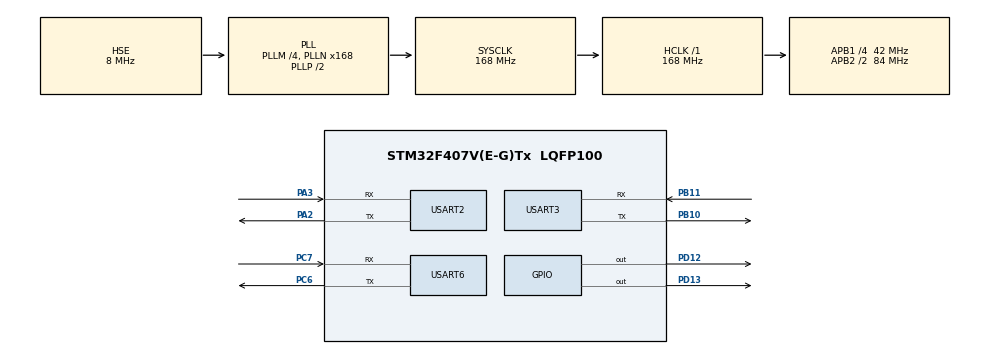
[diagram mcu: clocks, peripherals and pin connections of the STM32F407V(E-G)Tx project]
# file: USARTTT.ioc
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Mcu.Family=STM32F4
Mcu.Name=STM32F407V(E-G)Tx
Mcu.Package=LQFP100
NVIC.PriorityGroup=NVIC_PRIORITYGROUP_4
NVIC.USART2_IRQn=true\:0\:0\:false\:false\:true\:true
NVIC.USART3_IRQn=true\:0\:0\:false\:false\:true\:true
PA13.Mode=Trace_Asynchronous_SW
PA13.Signal=SYS_JTMS-SWDIO
PA14.Mode=Trace_Asynchronous_SW
PA14.Signal=SYS_JTCK-SWCLK
PA2.Mode=Asynchronous
PA2.Signal=USART2_TX
PA3.Mode=Asynchronous
PA3.Signal=USART2_RX
PB10.Mode=Asynchronous
PB10.Signal=USART3_TX
PB11.Mode=Asynchronous
PB11.Signal=USART3_RX
PB3.Mode=Trace_Asynchronous_SW
PB3.Signal=SYS_JTDO-SWO
PC6.Mode=Asynchronous
PC6.Signal=USART6_TX
PC7.Mode=Asynchronous
PC7.Signal=USART6_RX
PD12.Signal=GPIO_Output
PD13.Signal=GPIO_Output
PH0-OSC_IN.Mode=HSE-External-Oscillator
PH0-OSC_IN.Signal=RCC_OSC_IN
PH1-OSC_OUT.Mode=HSE-External-Oscillator
PH1-OSC_OUT.Signal=RCC_OSC_OUT
ProjectManager.HeapSize=0x200
ProjectManager.StackSize=0x400
ProjectManager.TargetToolchain=MDK-ARM V5
RCC.48MHZClocksFreq_Value=84000000
RCC.AHBFreq_Value=168000000
RCC.APB1CLKDivider=RCC_HCLK_DIV4
RCC.APB1Freq_Value=42000000
RCC.APB1TimFreq_Value=84000000
RCC.APB2CLKDivider=RCC_HCLK_DIV2
RCC.APB2Freq_Value=84000000
RCC.APB2TimFreq_Value=168000000
RCC.CortexFreq_Value=168000000
RCC.HCLKFreq_Value=168000000
RCC.HSE_VALUE=8000000
RCC.HSI_VALUE=16000000
RCC.LSE_VALUE=32768
RCC.PLLM=4
RCC.PLLN=168
RCC.PLLSourceVirtual=RCC_PLLSOURCE_HSE
RCC.SYSCLKFreq_VALUE=168000000
RCC.SYSCLKSource=RCC_SYSCLKSOURCE_PLLCLK
RCC.VCOOutputFreq_Value=336000000
USART2.VirtualMode=VM_ASYNC
USART3.VirtualMode=VM_ASYNC
USART6.VirtualMode=VM_ASYNC
board=custom

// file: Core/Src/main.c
/**
  ******************************************************************************
  * @file           : main.c
  * @brief          : Main program body
  ******************************************************************************
  ** This notice applies to any and all portions of this file
  * that are not between comment pairs USER CODE BEGIN and
  * USER CODE END. Other portions of this file, whether
  * inserted by the user or by software development tools
  * are owned by their respective copyright owners.
  *
  * COPYRIGHT(c) 2018 STMicroelectronics
  *
  * Redistribution and use in source and binary forms, with or without modification,
  * are permitted provided that the following conditions are met:
  *   1. Redistributions of source code must retain the above copyright notice,
  *      this list of conditions and the following disclaimer.
  *   2. Redistributions in binary form must reproduce the above copyright notice,
  *      this list of conditions and the following disclaimer in the documentation
  *      and/or other materials provided with the distribution.
  *   3. Neither the name of STMicroelectronics nor the names of its contributors
  *      may be used to endorse or promote products derived from this software
  *      without specific prior written permission.
  *
  * THIS SOFTWARE IS PROVIDED BY THE COPYRIGHT HOLDERS AND CONTRIBUTORS "AS IS"
  * AND ANY EXPRESS OR IMPLIED WARRANTIES, INCLUDING, BUT NOT LIMITED TO, THE
  * IMPLIED WARRANTIES OF MERCHANTABILITY AND FITNESS FOR A PARTICULAR PURPOSE ARE
  * DISCLAIMED. IN NO EVENT SHALL THE COPYRIGHT HOLDER OR CONTRIBUTORS BE LIABLE
  * FOR ANY DIRECT, INDIRECT, INCIDENTAL, SPECIAL, EXEMPLARY, OR CONSEQUENTIAL
  * DAMAGES (INCLUDING, BUT NOT LIMITED TO, PROCUREMENT OF SUBSTITUTE GOODS OR
  * SERVICES; LOSS OF USE, DATA, OR PROFITS; OR BUSINESS INTERRUPTION) HOWEVER
  * CAUSED AND ON ANY THEORY OF LIABILITY, WHETHER IN CONTRACT, STRICT LIABILITY,
  * OR TORT (INCLUDING NEGLIGENCE OR OTHERWISE) ARISING IN ANY WAY OUT OF THE USE
  * OF THIS SOFTWARE, EVEN IF ADVISED OF THE POSSIBILITY OF SUCH DAMAGE.
  *
  ******************************************************************************
  */
#include "main.h"
#include "stm32f4xx_hal.h"

UART_HandleTypeDef huart2;
UART_HandleTypeDef huart3;
UART_HandleTypeDef huart6;

/* USER CODE BEGIN PV */
/* Private variables ---------------------------------------------------------*/

/* USER CODE END PV */

void SystemClock_Config(void);
static void MX_GPIO_Init(void);
static void MX_USART2_UART_Init(void);
static void MX_USART6_UART_Init(void);
static void MX_USART3_UART_Init(void);

/* USER CODE BEGIN PFP */
/* Private function prototypes -----------------------------------------------*/

/* USER CODE END PFP */

/* USER CODE BEGIN 0 */
struct __FILE{

int handle;
};

FILE __stdout;
FILE __stdin;

int fputc(int ch, FILE *f)
{
	ITM_SendChar(ch);
	return(ch);
}

/* USER CODE END 0 */

int main(void)
{

  /* MCU Configuration----------------------------------------------------------*/

  /* Reset of all peripherals, Initializes the Flash interface and the Systick. */
  HAL_Init();

  /* Configure the system clock */
  SystemClock_Config();

  /* Initialize all configured peripherals */
  MX_GPIO_Init();
  MX_USART2_UART_Init();
  MX_USART6_UART_Init();
  MX_USART3_UART_Init();
  /* USER CODE BEGIN 2 */
  char buffer[]="Hello";
  uint8_t rec = 0;
  HAL_UART_Transmit(&huart3, (uint8_t *)buffer,sizeof(buffer),10);
//printf("Before while");
  /* USER CODE END 2 */

  /* Infinite loop */
  /* USER CODE BEGIN WHILE */
  while (1)
  {
	  printf("Entered while loop");
	    if(HAL_UART_Receive(&huart3, &rec ,1,10)==HAL_OK){
			printf("Entered if");
			HAL_GPIO_TogglePin(GPIOD, GPIO_PIN_12);
		printf("If code executed");}
		else
		{
			printf("Entered else");
			HAL_GPIO_TogglePin(GPIOD, GPIO_PIN_13);
		}
		printf("%d\n",rec);

		HAL_Delay(1000);
  /* USER CODE END WHILE */

  }

}

void SystemClock_Config(void)
{

  RCC_OscInitTypeDef RCC_OscInitStruct;
  RCC_ClkInitTypeDef RCC_ClkInitStruct;

    /**Configure the main internal regulator output voltage
    */
  __HAL_RCC_PWR_CLK_ENABLE();

  __HAL_PWR_VOLTAGESCALING_CONFIG(PWR_REGULATOR_VOLTAGE_SCALE1);

    /**Initializes the CPU, AHB and APB busses clocks
    */
  RCC_OscInitStruct.OscillatorType = RCC_OSCILLATORTYPE_HSE;
  RCC_OscInitStruct.HSEState = RCC_HSE_ON;
  RCC_OscInitStruct.PLL.PLLState = RCC_PLL_ON;
  RCC_OscInitStruct.PLL.PLLSource = RCC_PLLSOURCE_HSE;
  RCC_OscInitStruct.PLL.PLLM = 4;
  RCC_OscInitStruct.PLL.PLLN = 168;
  RCC_OscInitStruct.PLL.PLLP = RCC_PLLP_DIV2;
  RCC_OscInitStruct.PLL.PLLQ = 4;
  if (HAL_RCC_OscConfig(&RCC_OscInitStruct) != HAL_OK)
  {
    _Error_Handler(__FILE__, __LINE__);
  }

    /**Initializes the CPU, AHB and APB busses clocks
    */
  RCC_ClkInitStruct.ClockType = RCC_CLOCKTYPE_HCLK|RCC_CLOCKTYPE_SYSCLK
                              |RCC_CLOCKTYPE_PCLK1|RCC_CLOCKTYPE_PCLK2;
  RCC_ClkInitStruct.SYSCLKSource = RCC_SYSCLKSOURCE_PLLCLK;
  RCC_ClkInitStruct.AHBCLKDivider = RCC_SYSCLK_DIV1;
  RCC_ClkInitStruct.APB1CLKDivider = RCC_HCLK_DIV4;
  RCC_ClkInitStruct.APB2CLKDivider = RCC_HCLK_DIV2;

  if (HAL_RCC_ClockConfig(&RCC_ClkInitStruct, FLASH_LATENCY_5) != HAL_OK)
  {
    _Error_Handler(__FILE__, __LINE__);
  }

    /**Configure the Systick interrupt time
    */
  HAL_SYSTICK_Config(HAL_RCC_GetHCLKFreq()/1000);

    /**Configure the Systick
    */
  HAL_SYSTICK_CLKSourceConfig(SYSTICK_CLKSOURCE_HCLK);

  /* SysTick_IRQn interrupt configuration */
  HAL_NVIC_SetPriority(SysTick_IRQn, 0, 0);
}

/* USART2 init function */
static void MX_USART2_UART_Init(void)
{

  huart2.Instance = USART2;
  huart2.Init.BaudRate = 115200;
  huart2.Init.WordLength = UART_WORDLENGTH_8B;
  huart2.Init.StopBits = UART_STOPBITS_1;
  huart2.Init.Parity = UART_PARITY_NONE;
  huart2.Init.Mode = UART_MODE_TX_RX;
  huart2.Init.HwFlowCtl = UART_HWCONTROL_NONE;
  huart2.Init.OverSampling = UART_OVERSAMPLING_16;
  if (HAL_UART_Init(&huart2) != HAL_OK)
  {
    _Error_Handler(__FILE__, __LINE__);
  }

}

/* USART3 init function */
static void MX_USART3_UART_Init(void)
{

  huart3.Instance = USART3;
  huart3.Init.BaudRate = 115200;
  huart3.Init.WordLength = UART_WORDLENGTH_8B;
  huart3.Init.StopBits = UART_STOPBITS_1;
  huart3.Init.Parity = UART_PARITY_NONE;
  huart3.Init.Mode = UART_MODE_TX_RX;
  huart3.Init.HwFlowCtl = UART_HWCONTROL_NONE;
  huart3.Init.OverSampling = UART_OVERSAMPLING_16;
  if (HAL_UART_Init(&huart3) != HAL_OK)
  {
    _Error_Handler(__FILE__, __LINE__);
  }

}

/* USART6 init function */
static void MX_USART6_UART_Init(void)
{

  huart6.Instance = USART6;
  huart6.Init.BaudRate = 115200;
  huart6.Init.WordLength = UART_WORDLENGTH_8B;
  huart6.Init.StopBits = UART_STOPBITS_1;
  huart6.Init.Parity = UART_PARITY_NONE;
  huart6.Init.Mode = UART_MODE_TX_RX;
  huart6.Init.HwFlowCtl = UART_HWCONTROL_NONE;
  huart6.Init.OverSampling = UART_OVERSAMPLING_16;
  if (HAL_UART_Init(&huart6) != HAL_OK)
  {
    _Error_Handler(__FILE__, __LINE__);
  }

}

/** Configure pins as
        * Analog
        * Input
        * Output
        * EVENT_OUT
        * EXTI
*/
static void MX_GPIO_Init(void)
{

  GPIO_InitTypeDef GPIO_InitStruct;

  /* GPIO Ports Clock Enable */
  __HAL_RCC_GPIOH_CLK_ENABLE();
  __HAL_RCC_GPIOA_CLK_ENABLE();
  __HAL_RCC_GPIOB_CLK_ENABLE();
  __HAL_RCC_GPIOD_CLK_ENABLE();
  __HAL_RCC_GPIOC_CLK_ENABLE();

  /*Configure GPIO pin Output Level */
  HAL_GPIO_WritePin(GPIOD, GPIO_PIN_12|GPIO_PIN_13, GPIO_PIN_RESET);

  /*Configure GPIO pins : PD12 PD13 */
  GPIO_InitStruct.Pin = GPIO_PIN_12|GPIO_PIN_13;
  GPIO_InitStruct.Mode = GPIO_MODE_OUTPUT_PP;
  GPIO_InitStruct.Pull = GPIO_NOPULL;
  GPIO_InitStruct.Speed = GPIO_SPEED_FREQ_LOW;
  HAL_GPIO_Init(GPIOD, &GPIO_InitStruct);

}

void _Error_Handler(char *file, int line)
{
  while(1)
  {
  }
}

/************************ (C) COPYRIGHT STMicroelectronics *****END OF FILE****/
